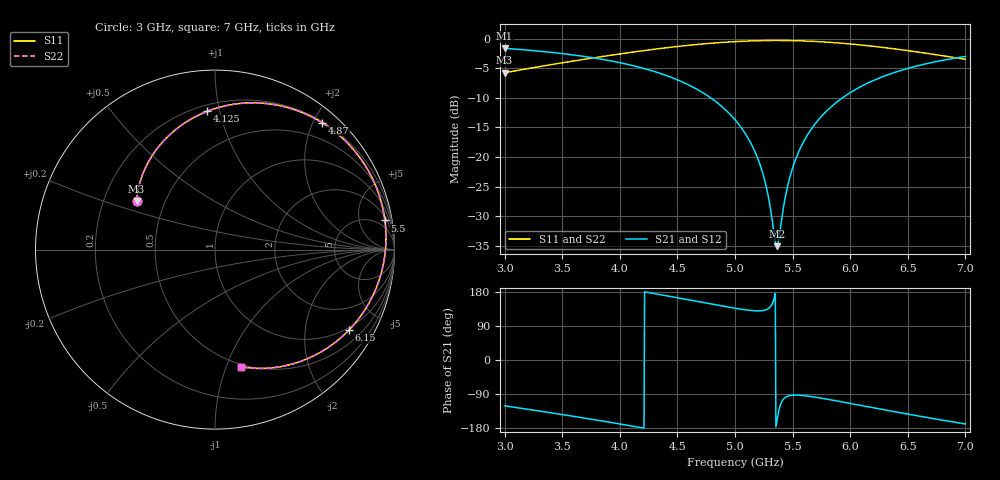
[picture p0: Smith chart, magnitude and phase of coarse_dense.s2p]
! yapnr rf: a12-stub-osh-m-m-eq-em528, footprint re-simulated (optimization grid)
! spec sha256 be3f75341af771bf6351000da16396fe67b0ba07056961c074cf9b1fec994a80
! 2 ports renormalized to 50 ohm, e^(+jwt) convention
# GHz S RI R 50
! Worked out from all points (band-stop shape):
!   811 points, 3 GHz to 7 GHz, reference 50 ohm
!   highest |S21| = -1.64 dB at 3 GHz (marker M1); lowest = -35.1 dB at 5.365 GHz (marker M2)
!   |S21| within 3 dB of the highest: start of sweep to 4.128 GHz; 6.577 GHz to end of sweep
!   lowest |S11| = -5.8 dB at 3 GHz (marker M3), VSWR 3.12, Z = 17.2 + j12.7 ohm
!   |S11| at or under -10 dB: nowhere
!   |S22| runs from -5.8 to -0.3 dB; largest |S21 - S12| = 0
!   S11 on the Smith chart (normalised r, x): 3 GHz: 0.34, +0.25; 4.125 GHz: 0.24, +0.92; 4.87 GHz: 0.22, +2.13; 5.5 GHz: 3, +11; 6.15 GHz: 0.92, -3.39; 7 GHz: 0.48, -1.12
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3  -0.4369 0.2714  -0.4258 -0.7098  -0.4258 -0.7098  -0.4369 0.2714
3.67  -0.2984 0.5921  -0.6282 -0.332  -0.6282 -0.332  -0.2984 0.5921
4.125  -0.0436 0.7703  -0.585 -0.048  -0.585 -0.048  -0.0436 0.7703
4.335  0.1192 0.8119  -0.5103 0.0593  -0.5103 0.0593  0.1192 0.8119
4.61  0.3617 0.802  -0.3712 0.1496  -0.3712 0.1496  0.3617 0.802
4.87  0.5957 0.708  -0.2206 0.1635  -0.2206 0.1635  0.5957 0.708
5  0.7025 0.6281  -0.1497 0.1417  -0.1497 0.1417  0.7025 0.6281
5.12  0.7891 0.536  -0.0926 0.1054  -0.0926 0.1054  0.7891 0.536
5.215  0.8468 0.4523  -0.0557 0.0671  -0.0557 0.0671  0.8468 0.4523
5.275  0.8775 0.3953  -0.037 0.0393  -0.037 0.0393  0.8775 0.3953
5.345  0.907 0.3255  -0.0202 0.00412  -0.0202 0.00412  0.907 0.3255
5.365  0.9142 0.305  -0.0164 -0.00639  -0.0164 -0.00639  0.9142 0.305
5.385  0.9207 0.2843  -0.0131 -0.0171  -0.0131 -0.0171  0.9207 0.2843
5.445  0.9368 0.2213  -0.00631 -0.0499  -0.00631 -0.0499  0.9368 0.2213
5.5  0.9467 0.1626  -0.00402 -0.0806  -0.00402 -0.0806  0.9467 0.1626
5.55  0.9516 0.1089  -0.00527 -0.1087  -0.00527 -0.1087  0.9516 0.1089
5.67  0.9479 -0.0191  -0.021 -0.1747  -0.021 -0.1747  0.9479 -0.0191
5.91  0.8794 -0.2568  -0.1016 -0.2865  -0.1016 -0.2865  0.8794 -0.2568
6.15  0.7471 -0.4473  -0.2295 -0.3508  -0.2295 -0.3508  0.7471 -0.4473
6.335  0.6188 -0.5529  -0.3435 -0.36  -0.3435 -0.36  0.6188 -0.5529
6.64  0.3912 -0.6473  -0.5269 -0.3002  -0.5269 -0.3002  0.3912 -0.6473
7  0.1422 -0.6523  -0.6924 -0.1357  -0.6924 -0.1357  0.1422 -0.6523
